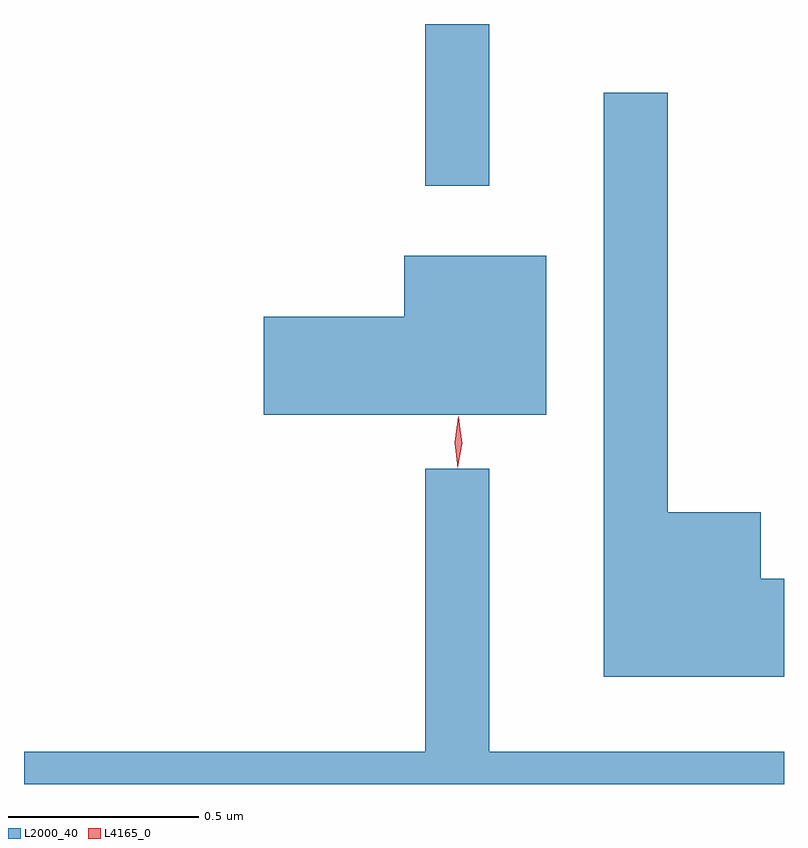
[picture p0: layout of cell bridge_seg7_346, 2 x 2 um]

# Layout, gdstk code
import gdstk
lib = gdstk.Library(unit=1e-6, precision=1e-09)
def R(c, l, rs):  # rectangles x0, y0, x1, y1
    for r in rs: c.add(gdstk.rectangle(r[:2], r[2:], *l))
def P(c, l, *ps):  # polygons
    for p in ps: c.add(gdstk.Polygon(p, *l))
L2000_40 = (2000, 40)
L4165_0 = (4165, 0)

bridge_seg7_346 = lib.new_cell('bridge_seg7_346')
R(bridge_seg7_346, L2000_40, [(1067.091,1795.993,1067.259,1796.419)])
P(bridge_seg7_346, L2000_40, [(1068.035,1794.959),(1067.974,1794.959),(1067.974,1795.134),(1067.729,1795.134),(1067.729,1796.238),(1067.561,1796.238),(1067.561,1794.701),(1068.035,1794.701)],
  [(1067.409,1795.809),(1067.036,1795.809),(1067.036,1795.649),(1066.666,1795.649),(1066.666,1795.391),(1067.409,1795.391)],
  [(1068.035,1794.504),(1067.259,1794.504),(1067.259,1795.248),(1067.091,1795.248),(1067.091,1794.504),(1066.035,1794.504),(1066.035,1794.419),(1068.035,1794.419)])
P(bridge_seg7_346, L4165_0, [(1067.176,1795.25),(1067.168,1795.318),(1067.178,1795.386),(1067.178,1795.386),(1067.179,1795.386),(1067.187,1795.318),(1067.177,1795.25),(1067.177,1795.25)],
  [(1067.176,1795.253),(1067.168,1795.316),(1067.178,1795.379),(1067.179,1795.38),(1067.179,1795.379),(1067.188,1795.316),(1067.177,1795.253),(1067.177,1795.253)])

lib.write_gds('bridge_seg7_346.gds')
